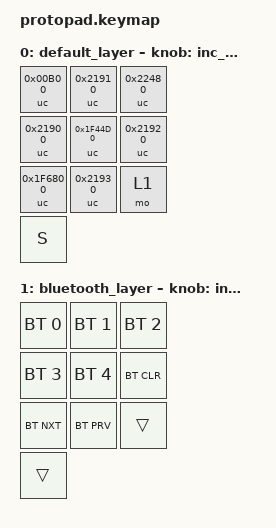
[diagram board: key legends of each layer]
/*
 * Copyright (c) 2024 Joshua Wiens
 * SPDX-License-Identifier: MIT
 */
#include <behaviors.dtsi>
#include <dt-bindings/zmk/keys.h>
#include <dt-bindings/zmk/bt.h>
#include <dt-bindings/zmk/outputs.h>
#include <behaviors/unicode.dtsi>

&uc {
  default-mode = <UC_MODE_WIN_COMPOSE>;
  minimum-length = <0>;
  win-compose-key = <RALT>;
};

/ {
    behaviors {
        // Custom behavior for left rotation with LED flash
        rot_left: rotate_left_led {
            compatible = "zmk,behavior-macro";
            label = "ROTATE_LEFT_LED";
            #binding-cells = <0>;
            wait-ms = <0>;
            bindings = <
                &kp L
                &macro_wait_time 100
            >;
        };
        
        // Custom behavior for right rotation with LED flash
        rot_right: rotate_right_led {
            compatible = "zmk,behavior-macro";
            label = "ROTATE_RIGHT_LED";
            #binding-cells = <0>;
            wait-ms = <0>;
            bindings = <
                &kp R
                &macro_wait_time 100
            >;
        };
        
    };
    keymap {
        compatible = "zmk,keymap";
        
        default_layer {
            bindings = <
                &uc 0x00B0 0   &uc 0x2191 0    &uc 0x2248 0
                &uc 0x2190 0    &uc 0x1F44D 0   &uc 0x2192 0
                &uc 0x1F680 0   &uc 0x2193 0    &mo 1
                &kp S  // Encoder button - outputs 'S' for "Switch" (easy to identify in testing)
            >;
            
            sensor-bindings = <&inc_dec_kp &rot_left &rot_right>;  // With LED flash
        };
        
        bluetooth_layer {
            bindings = <
                &bt BT_SEL 0    &bt BT_SEL 1    &bt BT_SEL 2
                &bt BT_SEL 3    &bt BT_SEL 4    &bt BT_CLR
                &bt BT_NXT      &bt BT_PRV      &trans
                &trans
            >;
            
            sensor-bindings = <&inc_dec_kp &rot_left &rot_right>;  // With LED flash
        };
    };
};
